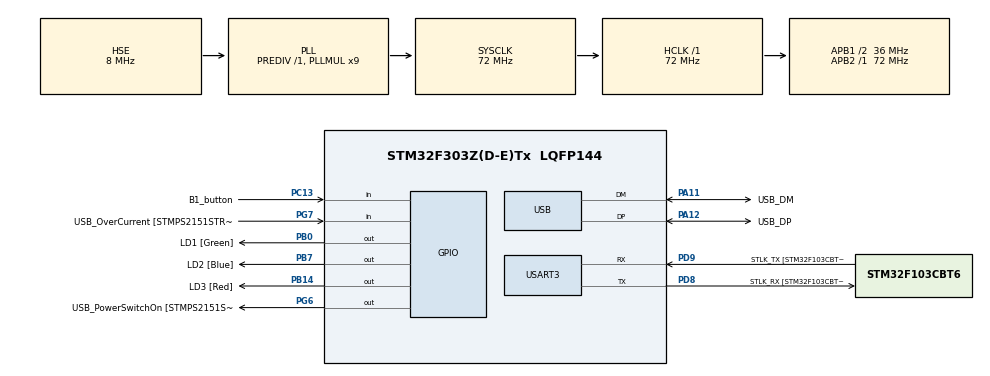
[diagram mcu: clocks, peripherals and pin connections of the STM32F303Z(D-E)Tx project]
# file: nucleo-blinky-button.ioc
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Mcu.Family=STM32F3
Mcu.Name=STM32F303Z(D-E)Tx
Mcu.Package=LQFP144
NVIC.PriorityGroup=NVIC_PRIORITYGROUP_4
NVIC.USB_LP_CAN_RX0_IRQn=true\:0\:0\:false\:false\:true\:true\:true\:true
PA11.GPIO_Label=USB_DM
PA11.Mode=Device
PA11.Signal=USB_DM
PA12.GPIO_Label=USB_DP
PA12.Mode=Device
PA12.Signal=USB_DP
PA13.GPIO_Label=TMS
PA13.Mode=Serial_Wire
PA13.Signal=SYS_JTMS-SWDIO
PA14.GPIO_Label=TCK
PA14.Mode=Serial_Wire
PA14.Signal=SYS_JTCK-SWCLK
PB0.GPIO_Label=LD1 [Green]
PB0.Signal=GPIO_Output
PB14.GPIO_Label=LD3 [Red]
PB14.Signal=GPIO_Output
PB3.GPIO_Label=SWO
PB3.Signal=SYS_JTDO-TRACESWO
PB7.GPIO_Label=LD2 [Blue]
PB7.Signal=GPIO_Output
PC13.GPIO_Label=B1_button
PC13.Signal=GPIO_Input
PC14-OSC32_IN.Mode=LSE-External-Oscillator
PC14-OSC32_IN.Signal=RCC_OSC32_IN
PC15-OSC32_OUT.Mode=LSE-External-Oscillator
PC15-OSC32_OUT.Signal=RCC_OSC32_OUT
PD8.GPIO_Label=STLK_RX [STM32F103CBT6_PA3]
PD8.Mode=Asynchronous
PD8.Signal=USART3_TX
PD9.GPIO_Label=STLK_TX [STM32F103CBT6_PA2]
PD9.Mode=Asynchronous
PD9.Signal=USART3_RX
PF0-OSC_IN.GPIO_Label=MCO [STM32F103CBT6_PA8]
PF0-OSC_IN.Mode=HSE-External-Clock-Source
PF0-OSC_IN.Signal=RCC_OSC_IN
PG6.GPIO_Label=USB_PowerSwitchOn [STMPS2151STR_EN]
PG6.Signal=GPIO_Output
PG7.GPIO_Label=USB_OverCurrent [STMPS2151STR_FAULT]
PG7.Signal=GPIO_Input
ProjectManager.HeapSize=0x200
ProjectManager.StackSize=0x400
ProjectManager.TargetToolchain=STM32CubeIDE
RCC.AHBFreq_Value=72000000
RCC.APB1CLKDivider=RCC_HCLK_DIV2
RCC.APB1Freq_Value=36000000
RCC.APB1TimFreq_Value=72000000
RCC.APB2Freq_Value=72000000
RCC.APB2TimFreq_Value=72000000
RCC.CortexFreq_Value=72000000
RCC.HCLKFreq_Value=72000000
RCC.HSE_VALUE=8000000
RCC.HSI_VALUE=8000000
RCC.PLLMUL=RCC_PLL_MUL9
RCC.PRESCALERUSB=RCC_USBCLKSOURCE_PLL_DIV1_5
RCC.SYSCLKFreq_VALUE=72000000
RCC.SYSCLKSourceVirtual=RCC_SYSCLKSOURCE_PLLCLK
RCC.USBFreq_Value=48000000
USART3.VirtualMode-Asynchronous=VM_ASYNC
VP_RTC_VS_RTC_Activate.Mode=RTC_Enabled
board=NUCLEO-F303ZE

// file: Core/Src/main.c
/* USER CODE BEGIN Header */
/**
  ******************************************************************************
  * @file           : main.c
  * @brief          : Main program body
  ******************************************************************************
  * @attention
  *
  * Copyright (c) 2022 STMicroelectronics.
  * All rights reserved.
  *
  * This software is licensed under terms that can be found in the LICENSE file
  * in the root directory of this software component.
  * If no LICENSE file comes with this software, it is provided AS-IS.
  *
  ******************************************************************************
  */
/* USER CODE END Header */
#include "main.h"

 RTC_HandleTypeDef hrtc;

UART_HandleTypeDef huart3;

PCD_HandleTypeDef hpcd_USB_FS;

void SystemClock_Config(void);
static void MX_GPIO_Init(void);
static void MX_RTC_Init(void);
static void MX_USART3_UART_Init(void);
static void MX_USB_PCD_Init(void);

int main(void)
{

  /* MCU Configuration--------------------------------------------------------*/

  /* Reset of all peripherals, Initializes the Flash interface and the Systick. */
  HAL_Init();

  /* USER CODE BEGIN Init */
  enum State{TURNED_OFF, SLOW_BLINKING, MODERATE_BLINKING, QUICK_BLINKING};

  int Get_Btnstate(void)
  {
	  return HAL_GPIO_ReadPin(B1_button_GPIO_Port, B1_button_Pin);
  }
  void Set_Turned_Off(void)
  {
	  HAL_GPIO_WritePin(LD1_GPIO_Port, LD1_Pin, RESET);
  }
  void Slow_Blinking(int counter)
    {
	    if(counter%80 == 0)
	    {
	    	HAL_GPIO_TogglePin(GPIOB, GPIO_PIN_0);
	    }

    }
  void Moderate_Blinking(int counter)
      {
	  if(counter%20 == 0)
	  {
		  HAL_GPIO_TogglePin(GPIOB, GPIO_PIN_0);
	  }

      }
  void Quick_Blinking(int counter)
      {
  	  if(counter%5 == 0)
  	  {
  		HAL_GPIO_TogglePin(GPIOB, GPIO_PIN_0);
  	  }
      }

  /* USER CODE END Init */

  /* Configure the system clock */
  SystemClock_Config();

  /* Initialize all configured peripherals */
  MX_GPIO_Init();
  MX_RTC_Init();
  MX_USART3_UART_Init();
  MX_USB_PCD_Init();
  enum State state = TURNED_OFF;
  int Button_Last_State = 1;
  int Button_Current_State = 0;
  int counter = 0;

  /* Infinite loop */
  /* USER CODE BEGIN WHILE */
  while (1)
  {

	  Button_Current_State = Get_Btnstate();
	  	  if(Button_Current_State == 1 && Button_Last_State == 0)
	  	  {

	  		  state++;
	  		  if(state> QUICK_BLINKING)
	  		  {
	  			  state = TURNED_OFF;
	  		  }

	  	  }

	  	  switch(state)
	  	  {
	  	  case TURNED_OFF:
	  			Set_Turned_Off();
	  		  break;
	  	  case SLOW_BLINKING:
	  		  Slow_Blinking(counter);
	  		break;
	  	  case MODERATE_BLINKING:
	  		  Moderate_Blinking(counter);
	  		break;
	  	  case QUICK_BLINKING:
	  		   Quick_Blinking(counter);
	  		 break;
	  	  }
//comment
	  	  counter++;
	  	  Button_Last_State = Button_Current_State;
	  	  HAL_Delay(50);

    /* USER CODE END WHILE */

  }
}

void SystemClock_Config(void)
{
  RCC_OscInitTypeDef RCC_OscInitStruct = {0};
  RCC_ClkInitTypeDef RCC_ClkInitStruct = {0};
  RCC_PeriphCLKInitTypeDef PeriphClkInit = {0};

  /** Initializes the RCC Oscillators according to the specified parameters
  * in the RCC_OscInitTypeDef structure.
  */
  RCC_OscInitStruct.OscillatorType = RCC_OSCILLATORTYPE_LSI|RCC_OSCILLATORTYPE_HSE;
  RCC_OscInitStruct.HSEState = RCC_HSE_BYPASS;
  RCC_OscInitStruct.HSIState = RCC_HSI_ON;
  RCC_OscInitStruct.LSIState = RCC_LSI_ON;
  RCC_OscInitStruct.PLL.PLLState = RCC_PLL_ON;
  RCC_OscInitStruct.PLL.PLLSource = RCC_PLLSOURCE_HSE;
  RCC_OscInitStruct.PLL.PLLMUL = RCC_PLL_MUL9;
  RCC_OscInitStruct.PLL.PREDIV = RCC_PREDIV_DIV1;
  if (HAL_RCC_OscConfig(&RCC_OscInitStruct) != HAL_OK)
  {
    Error_Handler();
  }

  /** Initializes the CPU, AHB and APB buses clocks
  */
  RCC_ClkInitStruct.ClockType = RCC_CLOCKTYPE_HCLK|RCC_CLOCKTYPE_SYSCLK
                              |RCC_CLOCKTYPE_PCLK1|RCC_CLOCKTYPE_PCLK2;
  RCC_ClkInitStruct.SYSCLKSource = RCC_SYSCLKSOURCE_PLLCLK;
  RCC_ClkInitStruct.AHBCLKDivider = RCC_SYSCLK_DIV1;
  RCC_ClkInitStruct.APB1CLKDivider = RCC_HCLK_DIV2;
  RCC_ClkInitStruct.APB2CLKDivider = RCC_HCLK_DIV1;

  if (HAL_RCC_ClockConfig(&RCC_ClkInitStruct, FLASH_LATENCY_2) != HAL_OK)
  {
    Error_Handler();
  }
  PeriphClkInit.PeriphClockSelection = RCC_PERIPHCLK_USB|RCC_PERIPHCLK_USART3
                              |RCC_PERIPHCLK_RTC;
  PeriphClkInit.Usart3ClockSelection = RCC_USART3CLKSOURCE_PCLK1;
  PeriphClkInit.RTCClockSelection = RCC_RTCCLKSOURCE_LSI;
  PeriphClkInit.USBClockSelection = RCC_USBCLKSOURCE_PLL_DIV1_5;
  if (HAL_RCCEx_PeriphCLKConfig(&PeriphClkInit) != HAL_OK)
  {
    Error_Handler();
  }
}

static void MX_RTC_Init(void)
{

  /** Initialize RTC Only
  */
  hrtc.Instance = RTC;
  hrtc.Init.HourFormat = RTC_HOURFORMAT_24;
  hrtc.Init.AsynchPrediv = 127;
  hrtc.Init.SynchPrediv = 255;
  hrtc.Init.OutPut = RTC_OUTPUT_DISABLE;
  hrtc.Init.OutPutPolarity = RTC_OUTPUT_POLARITY_HIGH;
  hrtc.Init.OutPutType = RTC_OUTPUT_TYPE_OPENDRAIN;
  if (HAL_RTC_Init(&hrtc) != HAL_OK)
  {
    Error_Handler();
  }

}

static void MX_USART3_UART_Init(void)
{

  huart3.Instance = USART3;
  huart3.Init.BaudRate = 38400;
  huart3.Init.WordLength = UART_WORDLENGTH_8B;
  huart3.Init.StopBits = UART_STOPBITS_1;
  huart3.Init.Parity = UART_PARITY_NONE;
  huart3.Init.Mode = UART_MODE_TX_RX;
  huart3.Init.HwFlowCtl = UART_HWCONTROL_NONE;
  huart3.Init.OverSampling = UART_OVERSAMPLING_16;
  huart3.Init.OneBitSampling = UART_ONE_BIT_SAMPLE_DISABLE;
  huart3.AdvancedInit.AdvFeatureInit = UART_ADVFEATURE_NO_INIT;
  if (HAL_UART_Init(&huart3) != HAL_OK)
  {
    Error_Handler();
  }

}

static void MX_USB_PCD_Init(void)
{

  hpcd_USB_FS.Instance = USB;
  hpcd_USB_FS.Init.dev_endpoints = 8;
  hpcd_USB_FS.Init.speed = PCD_SPEED_FULL;
  hpcd_USB_FS.Init.phy_itface = PCD_PHY_EMBEDDED;
  hpcd_USB_FS.Init.low_power_enable = DISABLE;
  hpcd_USB_FS.Init.lpm_enable = DISABLE;
  hpcd_USB_FS.Init.battery_charging_enable = DISABLE;
  if (HAL_PCD_Init(&hpcd_USB_FS) != HAL_OK)
  {
    Error_Handler();
  }

}

static void MX_GPIO_Init(void)
{
  GPIO_InitTypeDef GPIO_InitStruct = {0};

  /* GPIO Ports Clock Enable */
  __HAL_RCC_GPIOC_CLK_ENABLE();
  __HAL_RCC_GPIOF_CLK_ENABLE();
  __HAL_RCC_GPIOB_CLK_ENABLE();
  __HAL_RCC_GPIOD_CLK_ENABLE();
  __HAL_RCC_GPIOG_CLK_ENABLE();
  __HAL_RCC_GPIOA_CLK_ENABLE();

  /*Configure GPIO pin Output Level */
  HAL_GPIO_WritePin(GPIOB, LD1_Pin|LD3_Pin|LD2_Pin, GPIO_PIN_RESET);

  /*Configure GPIO pin Output Level */
  HAL_GPIO_WritePin(USB_PowerSwitchOn_GPIO_Port, USB_PowerSwitchOn_Pin, GPIO_PIN_RESET);

  /*Configure GPIO pin : B1_button_Pin */
  GPIO_InitStruct.Pin = B1_button_Pin;
  GPIO_InitStruct.Mode = GPIO_MODE_INPUT;
  GPIO_InitStruct.Pull = GPIO_NOPULL;
  HAL_GPIO_Init(B1_button_GPIO_Port, &GPIO_InitStruct);

  /*Configure GPIO pins : LD1_Pin LD3_Pin LD2_Pin */
  GPIO_InitStruct.Pin = LD1_Pin|LD3_Pin|LD2_Pin;
  GPIO_InitStruct.Mode = GPIO_MODE_OUTPUT_PP;
  GPIO_InitStruct.Pull = GPIO_NOPULL;
  GPIO_InitStruct.Speed = GPIO_SPEED_FREQ_LOW;
  HAL_GPIO_Init(GPIOB, &GPIO_InitStruct);

  /*Configure GPIO pin : USB_PowerSwitchOn_Pin */
  GPIO_InitStruct.Pin = USB_PowerSwitchOn_Pin;
  GPIO_InitStruct.Mode = GPIO_MODE_OUTPUT_PP;
  GPIO_InitStruct.Pull = GPIO_NOPULL;
  GPIO_InitStruct.Speed = GPIO_SPEED_FREQ_LOW;
  HAL_GPIO_Init(USB_PowerSwitchOn_GPIO_Port, &GPIO_InitStruct);

  /*Configure GPIO pin : USB_OverCurrent_Pin */
  GPIO_InitStruct.Pin = USB_OverCurrent_Pin;
  GPIO_InitStruct.Mode = GPIO_MODE_INPUT;
  GPIO_InitStruct.Pull = GPIO_NOPULL;
  HAL_GPIO_Init(USB_OverCurrent_GPIO_Port, &GPIO_InitStruct);

}

void Error_Handler(void)
{
  __disable_irq();
  while (1)
  {
  }
}
